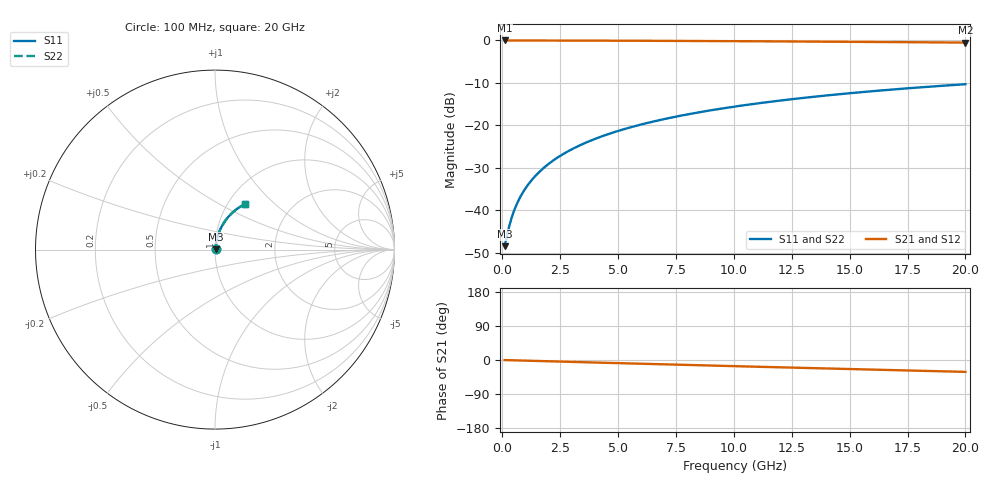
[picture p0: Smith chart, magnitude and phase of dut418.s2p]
! Touchstone file exported from HFSS 2026.1.0
!  File:  C:/ffzhzh/LocalFiles/Ansys_Project_Files/temp_train_BSMRDL_418_1783012691_51716.aedt
!  Generated:  01:19:31 AM Jul  3, 2026
!  Design:  BSMRDL
!  Project:  temp_train_BSMRDL_418_1783012691_51716
! Variables:
!  h_bsmrdl = 3.78um
!  h_ox = 20um
!  h_rdl = 5um
!  h_sub = 80um
!  h_tmrdl = 5um
!  h_tsv = 80um
!  h_via = 3um
!  l_bsmrdl = 449.04um
!  l_sub = 849.04um
!  l_tmrdl = 200um
!  m_sub = 200um
!  pitch = 33.14um
!  r_tsv = 6um
!  s_tmrdl = 10um
!  w_bsmrdl = 13.26um
!  w_sub = 500um
!  w_tmrdl = 12um
!  x_tsv_center1 = 206um
!  x_tsv_center2 = 668.3um
!  x_tsv_center3 = 880.3um
!  x_tsv_center4 = 1342.6um
!  x_tsv_center5 = 1554.6um
!  x_tsv_center6 = 2016.9um
# GHz S MA R 50.000000
! Terminal data exported
! Port[1] = BSM_RDL1_1_T1
! Port[2] = BSM_RDL1_1_T2
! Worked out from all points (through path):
!   200 points, 100 MHz to 20 GHz, reference 50 ohm
!   highest |S21| = -0.03 dB at 100 MHz (marker M1); lowest = -0.5 dB at 20 GHz (marker M2)
!   group delay of S21, straight-line fit = 4.34 ps
!   lowest |S11| = -48.5 dB at 100 MHz (marker M3), VSWR 1.01, Z = 50.3 + j0.188 ohm
!   |S11| at or under -10 dB: start of sweep to end of sweep
!   |S22| runs from -48.5 to -10.3 dB; largest |S21 - S12| = 2.5e-15
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0.1  0.003773 29.6  0.9967 -0.2  0.9967 -0.2  0.003773 29.6
! Gamma 0 0 0 0
! Port Impedance 50 0 50 0
0.3  0.006507 57.6  0.9965 -0.5  0.9965 -0.5  0.006507 57.6
0.4  0.008104 63.5  0.9964 -0.7  0.9964 -0.7  0.008104 63.5
0.5  0.009736 67.4  0.9963 -0.9  0.9963 -0.9  0.009736 67.4
0.6  0.01138 70.1  0.9963 -1.0  0.9963 -1.0  0.01138 70.1
0.8  0.01471 73.7  0.9961 -1.3  0.9961 -1.3  0.01471 73.7
1  0.01807 75.9  0.996 -1.7  0.996 -1.7  0.01807 75.9
1.2  0.02145 77.4  0.9958 -2.0  0.9958 -2.0  0.02145 77.4
1.4  0.02485 78.3  0.9957 -2.3  0.9957 -2.3  0.02485 78.3
1.7  0.02996 79.3  0.9955 -2.8  0.9955 -2.8  0.02996 79.3
2.2  0.0385 79.9  0.995 -3.7  0.995 -3.7  0.0385 79.9
2.8  0.04873 80.0  0.9943 -4.7  0.9943 -4.7  0.04873 80.0
3.5  0.0606 79.6  0.9933 -5.8  0.9933 -5.8  0.0606 79.6
4.2  0.07239 78.9  0.9922 -7.0  0.9922 -7.0  0.07239 78.9
5  0.08573 78.0  0.9907 -8.3  0.9907 -8.3  0.08573 78.0
5.9  0.1005 76.8  0.9888 -9.7  0.9888 -9.7  0.1005 76.8
6.8  0.1152 75.5  0.9867 -11.2  0.9867 -11.2  0.1152 75.5
8.3  0.139 73.3  0.9828 -13.6  0.9828 -13.6  0.139 73.4
10.1  0.1669 70.7  0.9776 -16.4  0.9776 -16.4  0.1669 70.7
13.4  0.2158 65.9  0.9667 -21.5  0.9667 -21.5  0.2158 65.9
16.7  0.2617 61.2  0.9544 -26.5  0.9544 -26.5  0.2617 61.2
20  0.3043 56.5  0.941 -31.3  0.941 -31.3  0.3043 56.6
